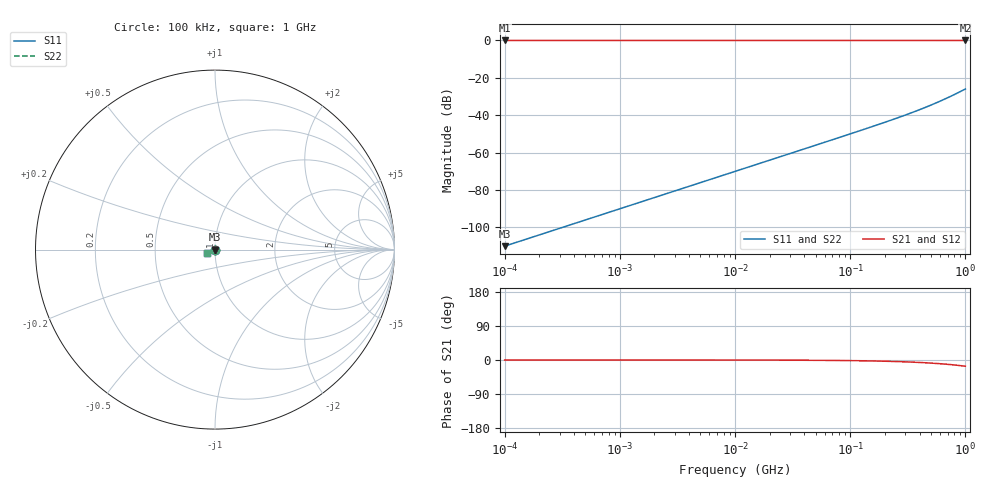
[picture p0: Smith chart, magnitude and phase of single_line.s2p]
# Hz S RI R 50
! golden: single_line
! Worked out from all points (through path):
!   81 points, 100 kHz to 1 GHz, reference 50 ohm
!   highest |S21| = 0.00 dB at 100 kHz (marker M1); lowest = 0.0 dB at 1 GHz (marker M2)
!   group delay of S21, straight-line fit = 45.3 ps
!   lowest |S11| = -110.1 dB at 100 kHz (marker M3), VSWR 1.00, Z = 50 - j0.000314 ohm
!   |S11| at or under -10 dB: start of sweep to end of sweep
!   |S22| runs from -110.1 to -26.0 dB; largest |S21 - S12| = 0
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100000  -4.84e-10 -3.14e-06  1 -2.83e-05  1 -2.83e-05  -4.84e-10 -3.14e-06
501187.2  -1.21e-08 -1.57e-05  1 -0.000142  1 -0.000142  -1.21e-08 -1.57e-05
2238721  -2.42e-07 -7.03e-05  1 -0.000633  1 -0.000633  -2.42e-07 -7.03e-05
3162278  -4.84e-07 -9.93e-05  1 -0.000894  1 -0.000894  -4.84e-07 -9.93e-05
3548134  -6.09e-07 -0.000111  1 -0.001  1 -0.001  -6.09e-07 -0.000111
1e7  -4.84e-06 -0.000314  1 -0.00283  1 -0.00283  -4.84e-06 -0.000314
2.511886e7  -3.05e-05 -0.000789  1 -0.0071  1 -0.0071  -3.05e-05 -0.000789
5.011872e7  -0.000121 -0.00157  0.9999 -0.0142  0.9999 -0.0142  -0.000121 -0.00157
7.943282e7  -0.000305 -0.00249  0.9997 -0.0225  0.9997 -0.0225  -0.000305 -0.00249
1.122018e8  -0.000609 -0.00351  0.9995 -0.0317  0.9995 -0.0317  -0.000609 -0.00351
1.584893e8  -0.00121 -0.00493  0.999 -0.0448  0.999 -0.0448  -0.00121 -0.00493
2.238721e8  -0.00242 -0.00689  0.998 -0.0633  0.998 -0.0633  -0.00242 -0.00689
2.818383e8  -0.00383 -0.00858  0.9968 -0.0797  0.9968 -0.0797  -0.00383 -0.00858
3.548134e8  -0.00606 -0.0106  0.9949 -0.1003  0.9949 -0.1003  -0.00606 -0.0106
4.466836e8  -0.00958 -0.0129  0.9919 -0.1263  0.9919 -0.1263  -0.00958 -0.0129
5.011872e8  -0.012 -0.0142  0.9897 -0.1417  0.9897 -0.1417  -0.012 -0.0142
5.623413e8  -0.0151 -0.0155  0.9871 -0.1589  0.9871 -0.1589  -0.0151 -0.0155
6.309573e8  -0.019 -0.0167  0.9837 -0.1783  0.9837 -0.1783  -0.019 -0.0167
7.079458e8  -0.0238 -0.0178  0.9793 -0.2  0.9793 -0.2  -0.0238 -0.0178
7.943282e8  -0.0299 -0.0187  0.9739 -0.2243  0.9739 -0.2243  -0.0299 -0.0187
8.912509e8  -0.0374 -0.0192  0.9669 -0.2516  0.9669 -0.2516  -0.0374 -0.0192
1e9  -0.0467 -0.019  0.9581 -0.282  0.9581 -0.282  -0.0467 -0.019
